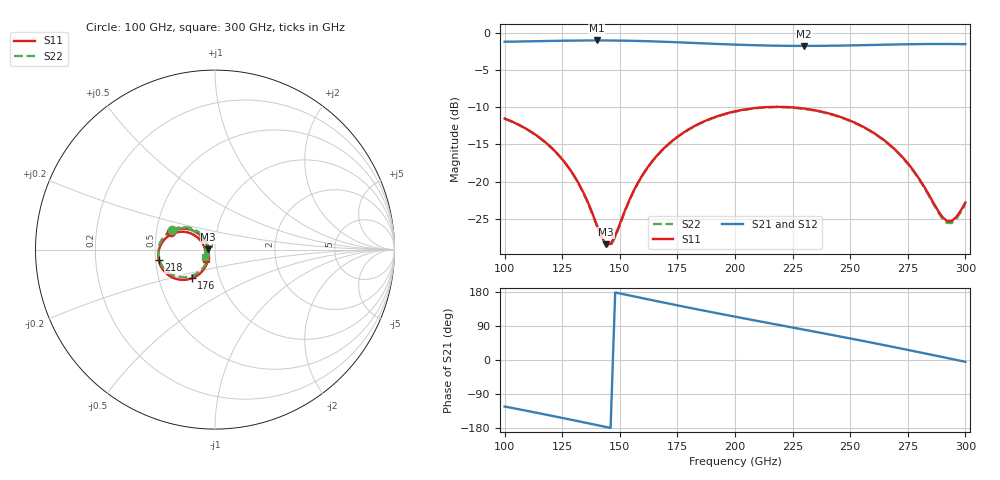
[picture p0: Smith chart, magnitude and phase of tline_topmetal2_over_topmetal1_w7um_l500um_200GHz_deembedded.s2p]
! Created with skrf 2.0.1 (http://scikit-rf.org).
# GHz S DB R 50.0
!freq dBS11 angS11 dBS21 angS21 dBS12 angS12 dBS22 angS22
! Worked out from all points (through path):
!   101 points, 100 GHz to 300 GHz, reference 50 ohm
!   highest |S21| = -0.98 dB at 140 GHz (marker M1); lowest = -1.7 dB at 230 GHz (marker M2)
!   group delay of S21, straight-line fit = 3.34 ps
!   lowest |S11| = -28.5 dB at 144 GHz (marker M3), VSWR 1.08, Z = 46.4 + j0.0629 ohm
!   |S11| at or under -10 dB: start of sweep to 212 GHz; 224.8 GHz to end of sweep
!   |S22| runs from -28.7 to -10.0 dB; largest |S21 - S12| = 9.6e-14
!   S11 on the Smith chart (normalised r, x): 100 GHz: 0.59, +0.12; 176 GHz: 0.74, -0.25; 218 GHz: 0.52, -0.07; 300 GHz: 0.90, -0.09
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100  -11.50 158.6  -1.14 -122.7  -1.14 -122.7  -11.53 156.0
120  -15.34 140.3  -1.04 -146.7  -1.04 -146.7  -15.38 137.0
128  -18.20 135.9  -1.00 -156.6  -1.00 -156.6  -18.25 132.3
134  -21.36 136.9  -0.98 -164.1  -0.98 -164.1  -21.43 133.1
140  -25.83 150.6  -0.98 -171.7  -0.98 -171.7  -25.98 146.4
144  -28.47 179.0  -0.98 -176.7  -0.98 -176.7  -28.72 175.2
146  -28.44 -161.6  -0.98 -179.3  -0.98 -179.3  -28.68 -164.9
148  -27.32 -145.1  -0.99 178.2  -0.99 178.2  -27.51 -148.1
158  -20.09 -119.5  -1.04 165.5  -1.04 165.5  -20.15 -122.9
168  -15.88 -122.6  -1.14 152.9  -1.14 152.9  -15.92 -126.5
176  -13.75 -128.9  -1.23 143.0  -1.23 143.0  -13.79 -133.0
188  -11.70 -140.0  -1.39 128.5  -1.39 128.5  -11.74 -144.5
200  -10.54 -151.8  -1.54 114.4  -1.54 114.4  -10.58 -156.6
218  -9.93 -169.4  -1.68 93.7  -1.68 93.7  -9.97 -174.7
230  -10.16 179.1  -1.71 80.0  -1.71 80.0  -10.20 173.4
234  -10.35 175.3  -1.71 75.4  -1.71 75.4  -10.40 169.5
252  -12.06 158.9  -1.63 54.5  -1.63 54.5  -12.11 152.5
268  -15.27 147.2  -1.53 35.3  -1.53 35.3  -15.33 140.3
278  -18.75 145.5  -1.48 22.9  -1.48 22.9  -18.84 138.2
292  -25.32 -175.9  -1.45 5.3  -1.45 5.3  -25.58 176.8
296  -24.81 -151.8  -1.46 0.3  -1.46 0.3  -25.05 -158.6
300  -22.84 -135.5  -1.48 -4.8  -1.48 -4.8  -23.01 -142.1
